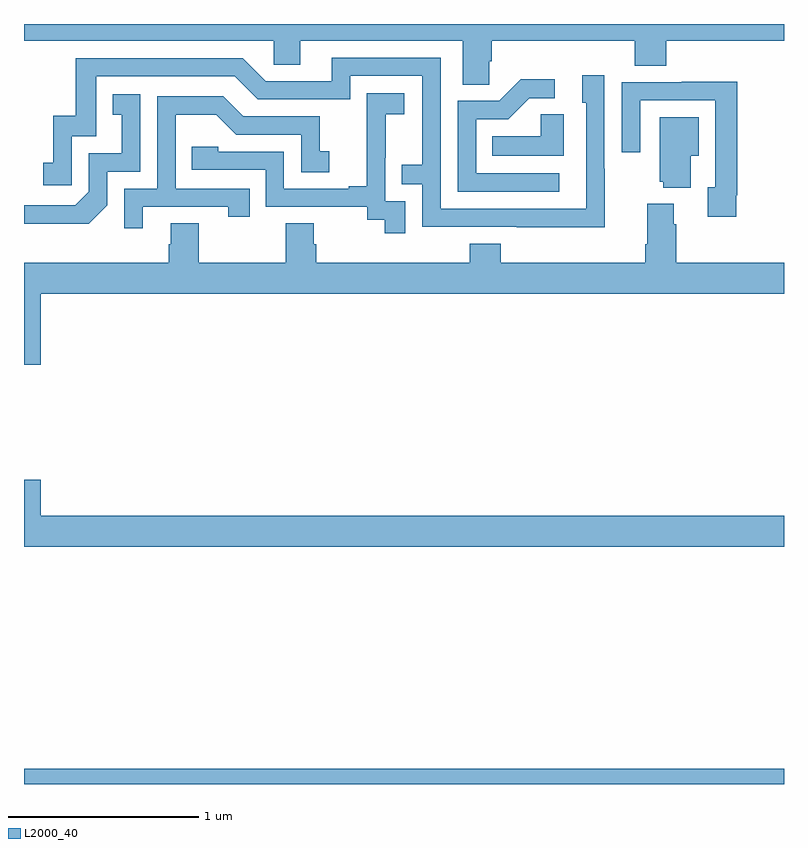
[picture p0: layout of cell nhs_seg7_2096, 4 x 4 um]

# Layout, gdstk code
import gdstk
lib = gdstk.Library(unit=1e-6, precision=1e-09)
def R(c, l, rs):  # rectangles x0, y0, x1, y1
    for r in rs: c.add(gdstk.rectangle(r[:2], r[2:], *l))
def P(c, l, *ps):  # polygons
    for p in ps: c.add(gdstk.Polygon(p, *l))
L2000_40 = (2000, 40)

nhs_seg7_2096 = lib.new_cell('nhs_seg7_2096')
R(nhs_seg7_2096, L2000_40, [(249,1034,253,1034.08)])
P(nhs_seg7_2096, L2000_40, [(251.448,1037.803),(251.462,1037.803),(251.462,1037.912),(252.215,1037.912),(252.215,1037.779),(252.38,1037.779),(252.38,1037.912),(253,1037.912),(253,1038),(249,1038),(249,1037.912),(250.314,1037.912),(250.314,1037.785),(250.453,1037.785),(250.453,1037.912),(251.309,1037.912),(251.309,1037.68),(251.448,1037.68)],
  [(252.057,1037.237),(252.054,1037.237),(252.054,1037.731),(251.939,1037.731),(251.939,1037.586),(251.958,1037.586),(251.958,1037.028),(251.193,1037.028),(251.193,1037.823),(250.619,1037.823),(250.619,1037.7),(250.272,1037.7),(250.152,1037.82),(249.273,1037.82),(249.273,1037.518),(249.155,1037.518),(249.155,1037.271),(249.102,1037.271),(249.102,1037.151),(249.252,1037.151),(249.252,1037.409),(249.381,1037.409),(249.381,1037.724),(250.11,1037.724),(250.23,1037.604),(250.716,1037.604),(250.716,1037.727),(251.097,1037.727),(251.097,1037.258),(250.987,1037.258),(250.987,1037.157),(251.097,1037.157),(251.097,1036.932),(251.593,1036.932),(251.593,1036.93),(252.057,1036.93)],
  [(251.818,1037.214),(251.379,1037.214),(251.379,1037.499),(251.548,1037.499),(251.659,1037.61),(251.794,1037.61),(251.794,1037.708),(251.615,1037.708),(251.502,1037.595),(251.283,1037.595),(251.283,1037.118),(251.818,1037.118)],
  [(252.748,1037.098),(252.755,1037.098),(252.755,1037.696),(252.463,1037.696),(252.463,1037.694),(252.147,1037.694),(252.147,1037.325),(252.243,1037.325),(252.243,1037.598),(252.639,1037.598),(252.639,1037.142),(252.599,1037.142),(252.599,1036.986),(252.748,1036.986)],
  [(251.007,1037.067),(250.902,1037.067),(250.902,1037.297),(250.904,1037.297),(250.904,1037.525),(251.002,1037.525),(251.002,1037.635),(250.804,1037.635),(250.804,1037.429),(250.805,1037.429),(250.805,1037.146),(250.709,1037.146),(250.709,1037.133),(250.368,1037.133),(250.368,1037.328),(250.023,1037.328),(250.023,1037.355),(249.883,1037.355),(249.883,1037.232),(250.272,1037.232),(250.272,1037.037),(250.806,1037.037),(250.806,1036.969),(250.899,1036.969),(250.899,1036.899),(251.007,1036.899)],
  [(249.438,1037.046),(249.438,1037.223),(249.612,1037.223),(249.612,1037.629),(249.466,1037.629),(249.466,1037.523),(249.515,1037.523),(249.515,1037.319),(249.342,1037.319),(249.342,1037.118),(249.27,1037.046),(249,1037.046),(249,1036.949),(249.34,1036.949)],
  [(249.625,1037.037),(250.076,1037.037),(250.076,1036.986),(250.187,1036.986),(250.187,1037.133),(249.798,1037.133),(249.798,1037.522),(250.012,1037.522),(250.116,1037.418),(250.458,1037.418),(250.458,1037.22),(250.606,1037.22),(250.606,1037.329),(250.557,1037.329),(250.557,1037.514),(250.153,1037.514),(250.048,1037.619),(249.702,1037.619),(249.702,1037.133),(249.528,1037.133),(249.528,1036.926),(249.625,1036.926)],
  [(251.842,1037.525),(251.721,1037.525),(251.721,1037.41),(251.464,1037.41),(251.464,1037.306),(251.842,1037.306)],
  [(252.508,1037.306),(252.55,1037.306),(252.55,1037.509),(252.347,1037.509),(252.347,1037.169),(252.365,1037.169),(252.365,1037.138),(252.508,1037.138)],
  [(249.088,1036.58),(253,1036.58),(253,1036.744),(252.434,1036.744),(252.434,1036.946),(252.421,1036.946),(252.421,1037.053),(252.281,1037.053),(252.281,1036.84),(252.269,1036.84),(252.269,1036.744),(251.51,1036.744),(251.51,1036.843),(251.345,1036.843),(251.345,1036.744),(250.538,1036.744),(250.538,1036.842),(250.525,1036.842),(250.525,1036.952),(250.378,1036.952),(250.378,1036.744),(249.921,1036.744),(249.921,1036.952),(249.773,1036.952),(249.773,1036.842),(249.761,1036.842),(249.761,1036.744),(249,1036.744),(249,1036.206),(249.088,1036.206)],
  [(253,1035.412),(249.088,1035.412),(249.088,1035.601),(249,1035.601),(249,1035.248),(253,1035.248)])

lib.write_gds('nhs_seg7_2096.gds')
